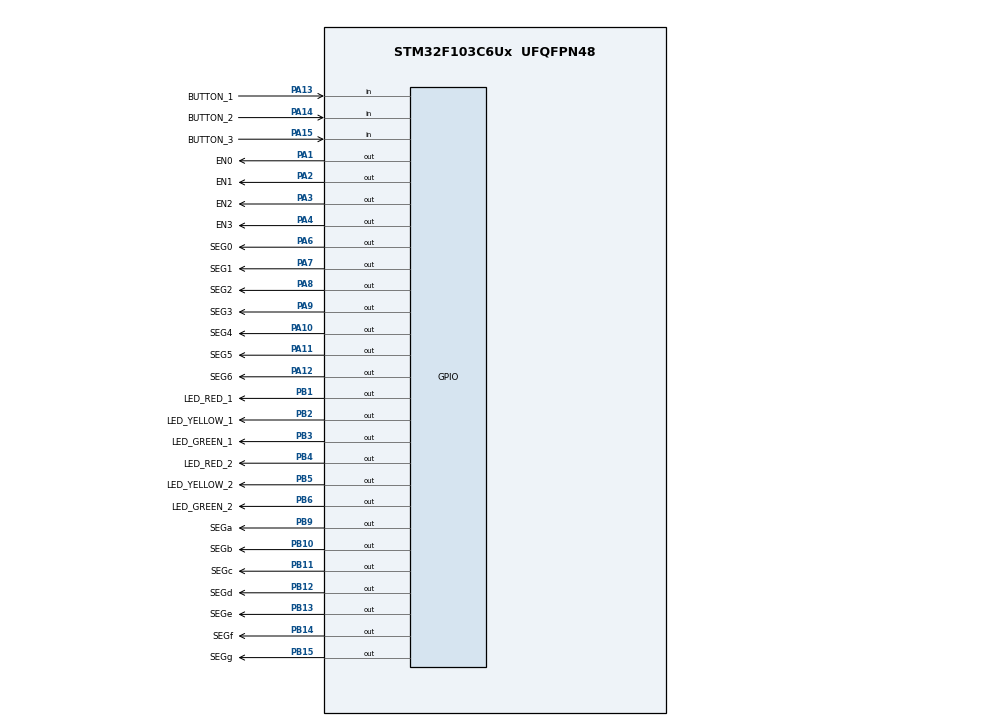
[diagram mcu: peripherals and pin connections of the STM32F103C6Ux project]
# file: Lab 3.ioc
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Mcu.Family=STM32F1
Mcu.Name=STM32F103C6Ux
Mcu.Package=UFQFPN48
NVIC.PriorityGroup=NVIC_PRIORITYGROUP_4
NVIC.TIM2_IRQn=true\:0\:0\:false\:false\:true\:true\:true\:true
PA1.GPIO_Label=EN0
PA1.Signal=GPIO_Output
PA10.GPIO_Label=SEG4
PA10.Signal=GPIO_Output
PA11.GPIO_Label=SEG5
PA11.Signal=GPIO_Output
PA12.GPIO_Label=SEG6
PA12.Signal=GPIO_Output
PA13.GPIO_Label=BUTTON_1
PA13.GPIO_PuPd=GPIO_PULLUP
PA13.Signal=GPIO_Input
PA14.GPIO_Label=BUTTON_2
PA14.GPIO_PuPd=GPIO_PULLUP
PA14.Signal=GPIO_Input
PA15.GPIO_Label=BUTTON_3
PA15.GPIO_PuPd=GPIO_PULLUP
PA15.Signal=GPIO_Input
PA2.GPIO_Label=EN1
PA2.Signal=GPIO_Output
PA3.GPIO_Label=EN2
PA3.Signal=GPIO_Output
PA4.GPIO_Label=EN3
PA4.Signal=GPIO_Output
PA6.GPIO_Label=SEG0
PA6.Signal=GPIO_Output
PA7.GPIO_Label=SEG1
PA7.Signal=GPIO_Output
PA8.GPIO_Label=SEG2
PA8.Signal=GPIO_Output
PA9.GPIO_Label=SEG3
PA9.Signal=GPIO_Output
PB1.GPIO_Label=LED_RED_1
PB1.Signal=GPIO_Output
PB10.GPIO_Label=SEGb
PB10.Signal=GPIO_Output
PB11.GPIO_Label=SEGc
PB11.Signal=GPIO_Output
PB12.GPIO_Label=SEGd
PB12.Signal=GPIO_Output
PB13.GPIO_Label=SEGe
PB13.Signal=GPIO_Output
PB14.GPIO_Label=SEGf
PB14.Signal=GPIO_Output
PB15.GPIO_Label=SEGg
PB15.Signal=GPIO_Output
PB2.GPIO_Label=LED_YELLOW_1
PB2.Signal=GPIO_Output
PB3.GPIO_Label=LED_GREEN_1
PB3.Signal=GPIO_Output
PB4.GPIO_Label=LED_RED_2
PB4.Signal=GPIO_Output
PB5.GPIO_Label=LED_YELLOW_2
PB5.Signal=GPIO_Output
PB6.GPIO_Label=LED_GREEN_2
PB6.Signal=GPIO_Output
PB9.GPIO_Label=SEGa
PB9.Signal=GPIO_Output
ProjectManager.HeapSize=0x200
ProjectManager.StackSize=0x400
ProjectManager.TargetToolchain=STM32CubeIDE
RCC.APB1Freq_Value=8000000
RCC.APB2Freq_Value=8000000
TIM2.Period=9
TIM2.Prescaler=7999
VP_SYS_VS_ND.Mode=No_Debug
VP_TIM2_VS_ClockSourceINT.Mode=Internal
board=custom

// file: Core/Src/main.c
/* USER CODE BEGIN Header */
/**
  ******************************************************************************
  * @file           : main.c
  * @brief          : Main program body
  ******************************************************************************
  * @attention
  *
  * Copyright (c) 2025 STMicroelectronics.
  * All rights reserved.
  *
  * This software is licensed under terms that can be found in the LICENSE file
  * in the root directory of this software component.
  * If no LICENSE file comes with this software, it is provided AS-IS.
  *
  ******************************************************************************
  */
/* USER CODE END Header */
#include "main.h"

/* USER CODE BEGIN Includes */

#include "leds_display.h"
#include "input_processing.h"
#include "input_reading.h"
#include "software_timer.h"
#include "fsm_traffic.h"

/* USER CODE END Includes */

TIM_HandleTypeDef htim2;

void SystemClock_Config(void);
static void MX_GPIO_Init(void);
static void MX_TIM2_Init(void);

int main(void)
{

  /* MCU Configuration--------------------------------------------------------*/

  /* Reset of all peripherals, Initializes the Flash interface and the Systick. */
  HAL_Init();

  /* Configure the system clock */
  SystemClock_Config();

  /* Initialize all configured peripherals */
  MX_GPIO_Init();
  MX_TIM2_Init();
  /* USER CODE BEGIN 2 */

  HAL_TIM_Base_Start_IT(&htim2);

  /* USER CODE END 2 */

  /* Infinite loop */
  /* USER CODE BEGIN WHILE */

  systemMode = INIT;
  trafficState = RED1_GREEN2_AUTO;
  start_new_loop = 1;

  setTimer0(TIMER_CYCLE);
  setTimer1(TIMER_CYCLE);
  setTimer2(TIMER_CYCLE);
  setTimer3(TIMER_CYCLE);
  setTimer4(TIMER_CYCLE * 2);

  while (1)
  {
    /* USER CODE END WHILE */

    /* USER CODE BEGIN 3 */
	  if (timer3_flag == 1) {
		  fsm_for_input_processing();
		  fsm_traffic_run();

		  setTimer3(100);
	  }

	  if (timer4_flag == 1) {
		  if(systemMode == INIT) {
			  countDownDur1 -= 250;
			  countDownDur2 -= 250;
			  updateDurToBuffer(countDownDur1 / 1000 + 1, countDownDur2 / 1000 + 1);
		  }

		  setTimer4(250);
	  }

	  if (timer1_flag == 1) {
		  if (systemMode > INIT) {
			  updateModeToBuffer(systemMode);

			  updateSetDuration(duration_buffer_temp[systemMode - 2] / 1000);
		  }

		  update7SEG1(index_led);
		  update7SEG2(2 + index_led);
		  index_led = (index_led + 1) % 2;

		  setTimer1(250);
	  }

//	  for (int index_led = 0; index_led < MAX_LED; index_led++) {
//		  update7SEG(index_led);
//		  HAL_Delay(1);
//	  }
  }
  /* USER CODE END 3 */
}

void SystemClock_Config(void)
{
  RCC_OscInitTypeDef RCC_OscInitStruct = {0};
  RCC_ClkInitTypeDef RCC_ClkInitStruct = {0};

  /** Initializes the RCC Oscillators according to the specified parameters
  * in the RCC_OscInitTypeDef structure.
  */
  RCC_OscInitStruct.OscillatorType = RCC_OSCILLATORTYPE_HSI;
  RCC_OscInitStruct.HSIState = RCC_HSI_ON;
  RCC_OscInitStruct.HSICalibrationValue = RCC_HSICALIBRATION_DEFAULT;
  RCC_OscInitStruct.PLL.PLLState = RCC_PLL_NONE;
  if (HAL_RCC_OscConfig(&RCC_OscInitStruct) != HAL_OK)
  {
    Error_Handler();
  }

  /** Initializes the CPU, AHB and APB buses clocks
  */
  RCC_ClkInitStruct.ClockType = RCC_CLOCKTYPE_HCLK|RCC_CLOCKTYPE_SYSCLK
                              |RCC_CLOCKTYPE_PCLK1|RCC_CLOCKTYPE_PCLK2;
  RCC_ClkInitStruct.SYSCLKSource = RCC_SYSCLKSOURCE_HSI;
  RCC_ClkInitStruct.AHBCLKDivider = RCC_SYSCLK_DIV1;
  RCC_ClkInitStruct.APB1CLKDivider = RCC_HCLK_DIV1;
  RCC_ClkInitStruct.APB2CLKDivider = RCC_HCLK_DIV1;

  if (HAL_RCC_ClockConfig(&RCC_ClkInitStruct, FLASH_LATENCY_0) != HAL_OK)
  {
    Error_Handler();
  }
}

static void MX_TIM2_Init(void)
{

  TIM_ClockConfigTypeDef sClockSourceConfig = {0};
  TIM_MasterConfigTypeDef sMasterConfig = {0};

  htim2.Instance = TIM2;
  htim2.Init.Prescaler = 7999;
  htim2.Init.CounterMode = TIM_COUNTERMODE_UP;
  htim2.Init.Period = 9;
  htim2.Init.ClockDivision = TIM_CLOCKDIVISION_DIV1;
  htim2.Init.AutoReloadPreload = TIM_AUTORELOAD_PRELOAD_DISABLE;
  if (HAL_TIM_Base_Init(&htim2) != HAL_OK)
  {
    Error_Handler();
  }
  sClockSourceConfig.ClockSource = TIM_CLOCKSOURCE_INTERNAL;
  if (HAL_TIM_ConfigClockSource(&htim2, &sClockSourceConfig) != HAL_OK)
  {
    Error_Handler();
  }
  sMasterConfig.MasterOutputTrigger = TIM_TRGO_RESET;
  sMasterConfig.MasterSlaveMode = TIM_MASTERSLAVEMODE_DISABLE;
  if (HAL_TIMEx_MasterConfigSynchronization(&htim2, &sMasterConfig) != HAL_OK)
  {
    Error_Handler();
  }

}

static void MX_GPIO_Init(void)
{
  GPIO_InitTypeDef GPIO_InitStruct = {0};

  /* GPIO Ports Clock Enable */
  __HAL_RCC_GPIOA_CLK_ENABLE();
  __HAL_RCC_GPIOB_CLK_ENABLE();

  /*Configure GPIO pin Output Level */
  HAL_GPIO_WritePin(GPIOA, EN0_Pin|EN1_Pin|EN2_Pin|EN3_Pin
                          |SEG0_Pin|SEG1_Pin|SEG2_Pin|SEG3_Pin
                          |SEG4_Pin|SEG5_Pin|SEG6_Pin, GPIO_PIN_RESET);

  /*Configure GPIO pin Output Level */
  HAL_GPIO_WritePin(GPIOB, LED_RED_1_Pin|LED_YELLOW_1_Pin|SEGb_Pin|SEGc_Pin
                          |SEGd_Pin|SEGe_Pin|SEGf_Pin|SEGg_Pin
                          |LED_GREEN_1_Pin|LED_RED_2_Pin|LED_YELLOW_2_Pin|LED_GREEN_2_Pin
                          |SEGa_Pin, GPIO_PIN_RESET);

  /*Configure GPIO pins : EN0_Pin EN1_Pin EN2_Pin EN3_Pin
                           SEG0_Pin SEG1_Pin SEG2_Pin SEG3_Pin
                           SEG4_Pin SEG5_Pin SEG6_Pin */
  GPIO_InitStruct.Pin = EN0_Pin|EN1_Pin|EN2_Pin|EN3_Pin
                          |SEG0_Pin|SEG1_Pin|SEG2_Pin|SEG3_Pin
                          |SEG4_Pin|SEG5_Pin|SEG6_Pin;
  GPIO_InitStruct.Mode = GPIO_MODE_OUTPUT_PP;
  GPIO_InitStruct.Pull = GPIO_NOPULL;
  GPIO_InitStruct.Speed = GPIO_SPEED_FREQ_LOW;
  HAL_GPIO_Init(GPIOA, &GPIO_InitStruct);

  /*Configure GPIO pins : LED_RED_1_Pin LED_YELLOW_1_Pin SEGb_Pin SEGc_Pin
                           SEGd_Pin SEGe_Pin SEGf_Pin SEGg_Pin
                           LED_GREEN_1_Pin LED_RED_2_Pin LED_YELLOW_2_Pin LED_GREEN_2_Pin
                           SEGa_Pin */
  GPIO_InitStruct.Pin = LED_RED_1_Pin|LED_YELLOW_1_Pin|SEGb_Pin|SEGc_Pin
                          |SEGd_Pin|SEGe_Pin|SEGf_Pin|SEGg_Pin
                          |LED_GREEN_1_Pin|LED_RED_2_Pin|LED_YELLOW_2_Pin|LED_GREEN_2_Pin
                          |SEGa_Pin;
  GPIO_InitStruct.Mode = GPIO_MODE_OUTPUT_PP;
  GPIO_InitStruct.Pull = GPIO_NOPULL;
  GPIO_InitStruct.Speed = GPIO_SPEED_FREQ_LOW;
  HAL_GPIO_Init(GPIOB, &GPIO_InitStruct);

  /*Configure GPIO pins : BUTTON_1_Pin BUTTON_2_Pin BUTTON_3_Pin */
  GPIO_InitStruct.Pin = BUTTON_1_Pin|BUTTON_2_Pin|BUTTON_3_Pin;
  GPIO_InitStruct.Mode = GPIO_MODE_INPUT;
  GPIO_InitStruct.Pull = GPIO_PULLUP;
  HAL_GPIO_Init(GPIOA, &GPIO_InitStruct);

}

void Error_Handler(void)
{
  __disable_irq();
  while (1)
  {
  }
}
